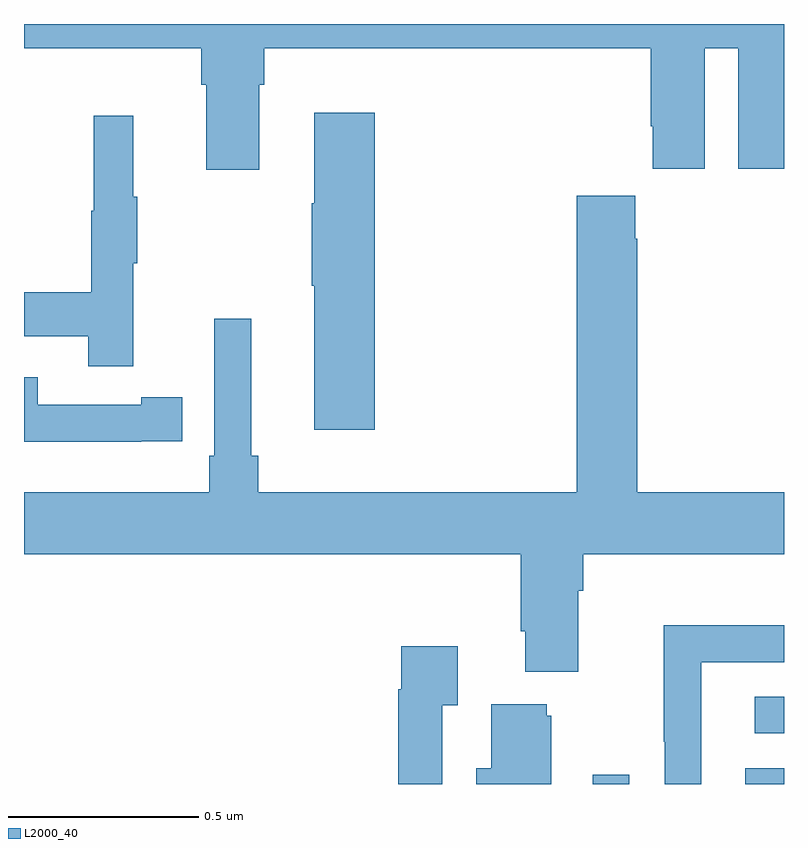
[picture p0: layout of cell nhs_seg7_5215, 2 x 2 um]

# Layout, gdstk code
import gdstk
lib = gdstk.Library(unit=1e-6, precision=1e-09)
def R(c, l, rs):  # rectangles x0, y0, x1, y1
    for r in rs: c.add(gdstk.rectangle(r[:2], r[2:], *l))
def P(c, l, *ps):  # polygons
    for p in ps: c.add(gdstk.Polygon(p, *l))
L2000_40 = (2000, 40)

nhs_seg7_5215 = lib.new_cell('nhs_seg7_5215')
R(nhs_seg7_5215, L2000_40, [(184.497,1012,184.593,1012.024), (184.898,1012,185,1012.042), (184.923,1012.134,185,1012.23)])
P(nhs_seg7_5215, L2000_40, [(183.619,1013.84),(183.632,1013.84),(183.632,1013.936),(184.649,1013.936),(184.649,1013.731),(184.655,1013.731),(184.655,1013.619),(184.792,1013.619),(184.792,1013.936),(184.88,1013.936),(184.88,1013.619),(185,1013.619),(185,1014),(183,1014),(183,1013.936),(183.467,1013.936),(183.467,1013.84),(183.479,1013.84),(183.479,1013.616),(183.619,1013.616)],
  [(183.923,1013.767),(183.764,1013.767),(183.764,1013.528),(183.757,1013.528),(183.757,1013.311),(183.764,1013.311),(183.764,1012.932),(183.923,1012.932)],
  [(183.287,1013.371),(183.298,1013.371),(183.298,1013.545),(183.287,1013.545),(183.287,1013.758),(183.184,1013.758),(183.184,1013.508),(183.177,1013.508),(183.177,1013.294),(183,1013.294),(183,1013.178),(183.169,1013.178),(183.169,1013.1),(183.287,1013.1)],
  [(184.459,1012.508),(184.472,1012.508),(184.472,1012.604),(185,1012.604),(185,1012.768),(184.614,1012.768),(184.614,1013.435),(184.609,1013.435),(184.609,1013.548),(184.454,1013.548),(184.454,1012.768),(183.617,1012.768),(183.617,1012.864),(183.598,1012.864),(183.598,1013.224),(183.501,1013.224),(183.501,1012.864),(183.488,1012.864),(183.488,1012.768),(183,1012.768),(183,1012.604),(184.307,1012.604),(184.307,1012.402),(184.319,1012.402),(184.319,1012.295),(184.459,1012.295)],
  [(183.308,1012.902),(183.416,1012.902),(183.416,1013.018),(183.308,1013.018),(183.308,1012.998),(183.036,1012.998),(183.036,1013.07),(183,1013.07),(183,1012.901),(183.308,1012.901)],
  [(184.782,1012.32),(185,1012.32),(185,1012.418),(184.684,1012.418),(184.684,1012.111),(184.686,1012.111),(184.686,1012),(184.782,1012)],
  [(184.101,1012.207),(184.141,1012.207),(184.141,1012.363),(183.993,1012.363),(183.993,1012.25),(183.985,1012.25),(183.985,1012),(184.101,1012)],
  [(184.387,1012.179),(184.376,1012.179),(184.376,1012.21),(184.229,1012.21),(184.229,1012.042),(184.19,1012.042),(184.19,1012),(184.387,1012)])

lib.write_gds('nhs_seg7_5215.gds')
